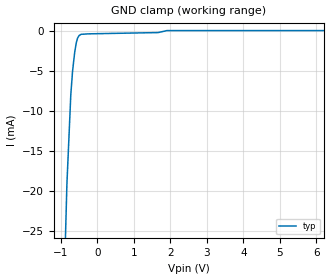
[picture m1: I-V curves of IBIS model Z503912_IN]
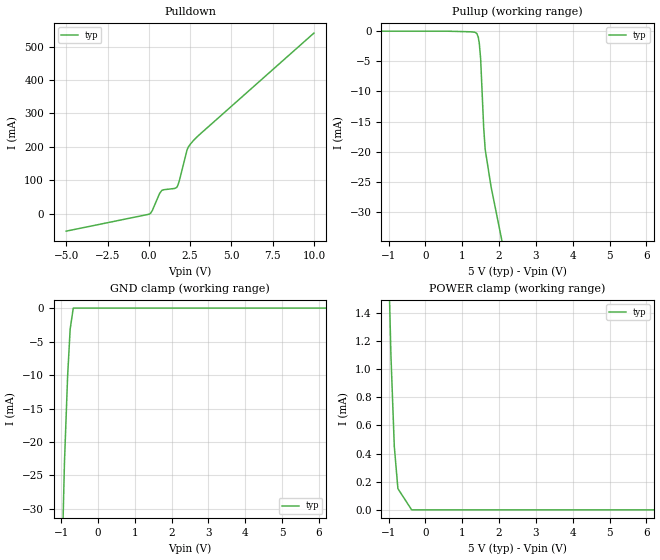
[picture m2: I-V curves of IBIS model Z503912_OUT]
| YOU ARE ONLY AUTHORIZED TO USE THIS SOFTWARE
| ACCORDING TO LICENSOR'S LICENSE RESTRICTIONS.
[IBIS Ver] 3.1
[File Name] mc54f161aj.ibs
[File Rev] 2.0
[Source] Measured and created by ICX Technology
[Date] Friday 7/14/00 9:08:02 AM
[Copyright]
| (C) COPYRIGHT 1993-2000
| MENTOR GRAPHICS CORPORATION
| ICX STANDARD LIBRARY, ICX PROJECT MODELING,
| ICX CUSTOM MODELING, ICX VENDOR MODEL
| ALL RIGHTS RESERVED.
| THE FOLLOWING ARE TRADEMARKS OR SERVICE MARKS OF
| MENTOR GRAPHICS CORPORATION:ICX (R), ICX STANDARD
| LIBRARY(R), ICX PROJECT MODELING(R), ICX CUSTOM
| MODELING(R), qualityIBIS(TM), MODELVIEWER(TM),
| AND MODELEDITOR(TM)
| ALL COPIES OF SOFTWARE, INCLUDING BUT NOT LIMITED TO
| ANY MODIFICATIONS, ENHANCEMENTS OR DERIVATIVE WORKS,
| MUST CONTAIN ALL MENTOR GRAPHICS CORPORATION'S
| NOTICES AND LEGENDS, INCLUDING THOSE EMBEDDED IN
| SOFTWARE AND THOSE AFFIXED TO SOFTWARE MEDIUM
| AND CONTAINER, AS RECEIVED FROM MENTOR GRAPHICS
| CORPORATION.
|  ZAP Model Builder 2.7
[Component] MC54F161AJ
[Manufacturer] OnSemiconductor
[Package]
| variable   typ   min   max
R_pkg  .212ohms NA NA
L_pkg  4.758nH NA NA
C_pkg  1.944pF NA NA
[Pin] signal_name  model_name  R_pin  L_pin C_pin
1 _CLR Z503912_IN .224 7.258n 2.683p
2 CLK Z503912_IN .216 5.258n 2.19p
3 A Z503912_IN .208 3.758n 1.697p
4 B Z503912_IN .2 2.758n 1.204p
5 C Z503912_IN .2 2.758n 1.204p
6 D Z503912_IN .208 3.758n 1.697p
7 ENP Z503912_IN .216 5.258n 2.19p
8 GND GND .224 7.258n 2.683p
9 _LOAD Z503912_IN .224 7.258n 2.683p
10 ENT Z503912_IN .216 5.258n 2.19p
11 QD Z503912_OUT .208 3.758n 1.697p
12 QC Z503912_OUT .2 2.758n 1.204p
13 QB Z503912_OUT .2 2.758n 1.204p
14 QA Z503912_OUT .208 3.758n 1.697p
15 RCO Z503912_OUT .216 5.258n 2.19p
16 VCC POWER .224 7.258n 2.683p
| Models and submodels in the file (2): Z503912_IN (Input), Z503912_OUT (Output)
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| (C) COPYRIGHT 1993-2000
| MENTOR GRAPHICS CORPORATION
| ICX STANDARD LIBRARY, ICX PROJECT MODELING,
| ICX CUSTOM MODELING, ICX VENDOR MODEL
| ALL RIGHTS RESERVED.
| THE FOLLOWING ARE TRADEMARKS OR SERVICE MARKS OF
| MENTOR GRAPHICS CORPORATION:ICX (R), ICX STANDARD
| LIBRARY(R), ICX PROJECT MODELING(R), ICX CUSTOM
| MODELING(R), qualityIBIS(TM), MODELVIEWER(TM),
| AND MODELEDITOR(TM)
| ALL COPIES OF SOFTWARE, INCLUDING BUT NOT LIMITED TO
| ANY MODIFICATIONS, ENHANCEMENTS OR DERIVATIVE WORKS,
| MUST CONTAIN ALL MENTOR GRAPHICS CORPORATION'S
| NOTICES AND LEGENDS, INCLUDING THOSE EMBEDDED IN
| SOFTWARE AND THOSE AFFIXED TO SOFTWARE MEDIUM
| AND CONTAINER, AS RECEIVED FROM MENTOR GRAPHICS
| CORPORATION.
| Model Application Version 1.89 2/18/99.
[Model] Z503912_IN
Model_type Input
Vinl = 800.0mV
Vinh = 2.000V
C_comp 4.000pF NA NA
| variable typ   min   max
[Voltage Range] 5.000V NA NA
[GND Clamp Reference] 0.000V NA NA
[POWER Clamp Reference] 5.000V NA NA
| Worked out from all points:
|   GND clamp passes 1 mA (typ) near -0.54 V on its own axis
[GND Clamp]
-5V       -717.5mA   NA         NA
-833.8mV  -19.21mA   NA         NA
-727.1mV  -8.036mA   NA         NA
-678.7mV  -5.061mA   NA         NA
-620.1mV  -2.706mA   NA         NA
-575.5mV  -1.494mA   NA         NA
-541.2mV  -942.3uA   NA         NA
-499.5mV  -621.4uA   NA         NA
-444.2mV  -464.1uA   NA         NA
1.667V    -249.3uA   NA         NA
1.904V    -704.4nA   NA         NA
10V       -704.4nA   NA         NA
[POWER Clamp]
-5V       0A         NA         NA
10V       0A         NA         NA
| (C) COPYRIGHT 1993-2000
| MENTOR GRAPHICS CORPORATION
| ICX STANDARD LIBRARY, ICX PROJECT MODELING,
| ICX CUSTOM MODELING, ICX VENDOR MODEL
| ALL RIGHTS RESERVED.
| THE FOLLOWING ARE TRADEMARKS OR SERVICE MARKS OF
| MENTOR GRAPHICS CORPORATION:ICX (R), ICX STANDARD
| LIBRARY(R), ICX PROJECT MODELING(R), ICX CUSTOM
| MODELING(R), qualityIBIS(TM), MODELVIEWER(TM),
| AND MODELEDITOR(TM)
| ALL COPIES OF SOFTWARE, INCLUDING BUT NOT LIMITED TO
| ANY MODIFICATIONS, ENHANCEMENTS OR DERIVATIVE WORKS,
| MUST CONTAIN ALL MENTOR GRAPHICS CORPORATION'S
| NOTICES AND LEGENDS, INCLUDING THOSE EMBEDDED IN
| SOFTWARE AND THOSE AFFIXED TO SOFTWARE MEDIUM
| AND CONTAINER, AS RECEIVED FROM MENTOR GRAPHICS
| CORPORATION.
| Model Application Version 1.89 2/18/99.
[Model] Z503912_OUT
Model_type Output
Vref=0.000V
Rref=500.0ohms
Cref=50.00pF
Vmeas=1.500V
C_comp 8.000pF NA NA
| variable typ   min   max
[Voltage Range] 5.000V NA NA
[POWER Clamp Reference] 5.000V NA NA
[Pullup Reference] 5.000V NA NA
[Pulldown Reference] 0.000V NA NA
[GND Clamp Reference] 0.000V NA NA
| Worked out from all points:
|   slope of the pulldown table from 0 to 0.75 V, typ, clamps not added: 10.9 ohm
|   slope of the pullup table from 0 to 0.75 V, typ, clamps not added: 31.8 kohm
|   GND clamp passes 1 mA (typ) near -0.70 V on its own axis
|   POWER clamp passes 1 mA (typ) near -0.92 V on its own axis
[GND Clamp]
-5V       -1.829A    NA         NA
-1.123V   -83.44mA   NA         NA
-1.006V   -44.66mA   NA         NA
-911.9mV  -23.18mA   NA         NA
-825.2mV  -10.12mA   NA         NA
-756mV    -3.119mA   NA         NA
-672mV    0A         NA         NA
10V       0A         NA         NA
[Pulldown]
-5V       -52.63mA   NA         NA
48.87mV   -1.378mA   NA         NA
219.6mV   9.863mA    NA         NA
659.3mV   60.83mA    NA         NA
791mV     69.53mA    NA         NA
1.563V    75.29mA    NA         NA
1.719V    80.6mA     NA         NA
1.855V    99.55mA    NA         NA
2.314V    190.3mA    NA         NA
2.383V    198.7mA    NA         NA
2.739V    221mA      NA         NA
10V       541.1mA    NA         NA
[Pullup]
-5V       7.25uA     NA         NA
605mV     7.25uA     NA         NA
1.343V    -169.6uA   NA         NA
1.401V    -440.1uA   NA         NA
1.435V    -979.3uA   NA         NA
1.463V    -1.998mA   NA         NA
1.499V    -4.523mA   NA         NA
1.582V    -15.98mA   NA         NA
1.623V    -19.61mA   NA         NA
1.781V    -25.76mA   NA         NA
10V       -276.1mA   NA         NA
[POWER Clamp]
-5V       50.58mA    NA         NA
-1.064V   2.456mA    NA         NA
-937mV    1.104mA    NA         NA
-845mV    450.4uA    NA         NA
-747mV    150.8uA    NA         NA
-373.5mV  0A         NA         NA
10V       0A         NA         NA
[Ramp]
| variable typ min max
dV/dt_r 2.042/1.210n NA NA
dV/dt_f 2.042/1.940n NA NA
R_load = 500.0Ohms
